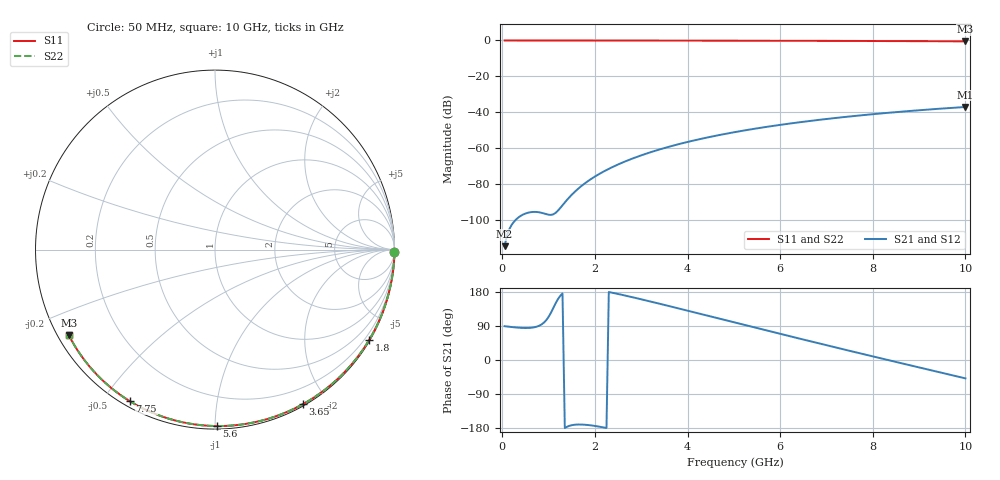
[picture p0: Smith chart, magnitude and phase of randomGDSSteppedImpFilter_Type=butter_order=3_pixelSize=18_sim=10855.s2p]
! freq	dB(S11)	phase(S11)	dB(S12)	phase(S12)
!  dB(S21)	phase(S21)	dB(S22)	phase(S22)
!S-par simulation data
#  GHz  S  DB  R 50
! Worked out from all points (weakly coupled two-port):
!   200 points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, 50 MHz to 10 GHz, reference 50 ohm
!   highest |S21| = -37.15 dB at 10 GHz (marker M1); lowest = -114.9 dB at 50 MHz (marker M2)
!   lowest |S11| = -0.5 dB at 10 GHz (marker M3), VSWR 34.50, Z = 1.56 - j13.5 ohm
!   |S11| at or under -10 dB: nowhere
!   |S22| runs from -0.5 to 0.0 dB; largest |S21 - S12| = 0
!   S11 on the Smith chart (normalised r, x): 50 MHz: open; 1.8 GHz: 0.03, -3.66; 3.65 GHz: 0.02, -1.72; 5.6 GHz: 0.02, -1.01; 7.75 GHz: 0.02, -0.58; 10 GHz: 0.03, -0.27
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0.05  -0.00 -0.9  -114.89 89.2  -114.89 89.2  -0.00 -0.9
0.45  -0.01 -7.8  -97.21 84.5  -97.21 84.5  -0.01 -7.8
0.9  -0.02 -15.4  -96.63 98.8  -96.63 98.8  -0.02 -15.4
1.75  -0.04 -29.7  -80.44 -170.6  -80.44 -170.6  -0.04 -29.7
1.8  -0.04 -30.5  -79.47 -171.0  -79.47 -171.0  -0.04 -30.5
1.95  -0.04 -33.0  -76.81 -173.1  -76.81 -173.1  -0.04 -33.0
2.1  -0.05 -35.5  -74.47 -176.0  -74.47 -176.0  -0.05 -35.5
2.3  -0.05 -38.8  -71.70 179.4  -71.70 179.4  -0.05 -38.8
2.5  -0.05 -42.0  -69.26 174.3  -69.26 174.3  -0.05 -42.0
2.9  -0.06 -48.5  -65.09 163.1  -65.09 163.1  -0.06 -48.5
3.4  -0.07 -56.4  -60.83 148.4  -60.83 148.4  -0.07 -56.4
3.65  -0.08 -60.3  -59.00 140.8  -59.00 140.8  -0.08 -60.3
4.3  -0.10 -70.3  -54.89 121.0  -54.89 121.0  -0.10 -70.3
5.05  -0.13 -81.5  -51.05 98.0  -51.05 98.0  -0.13 -81.5
5.6  -0.15 -89.5  -48.68 81.2  -48.68 81.2  -0.15 -89.5
6.15  -0.17 -97.3  -46.60 64.6  -46.60 64.6  -0.17 -97.3
6.7  -0.20 -105.0  -44.77 48.0  -44.77 48.0  -0.20 -105.0
7.2  -0.24 -111.9  -43.28 33.1  -43.28 33.1  -0.24 -111.9
7.75  -0.28 -119.4  -41.80 16.8  -41.80 16.8  -0.28 -119.4
8.35  -0.33 -127.4  -40.36 -0.7  -40.36 -0.7  -0.33 -127.4
9.2  -0.41 -138.9  -38.58 -25.4  -38.58 -25.4  -0.41 -138.9
10  -0.50 -149.8  -37.15 -48.5  -37.15 -48.5  -0.50 -149.8
